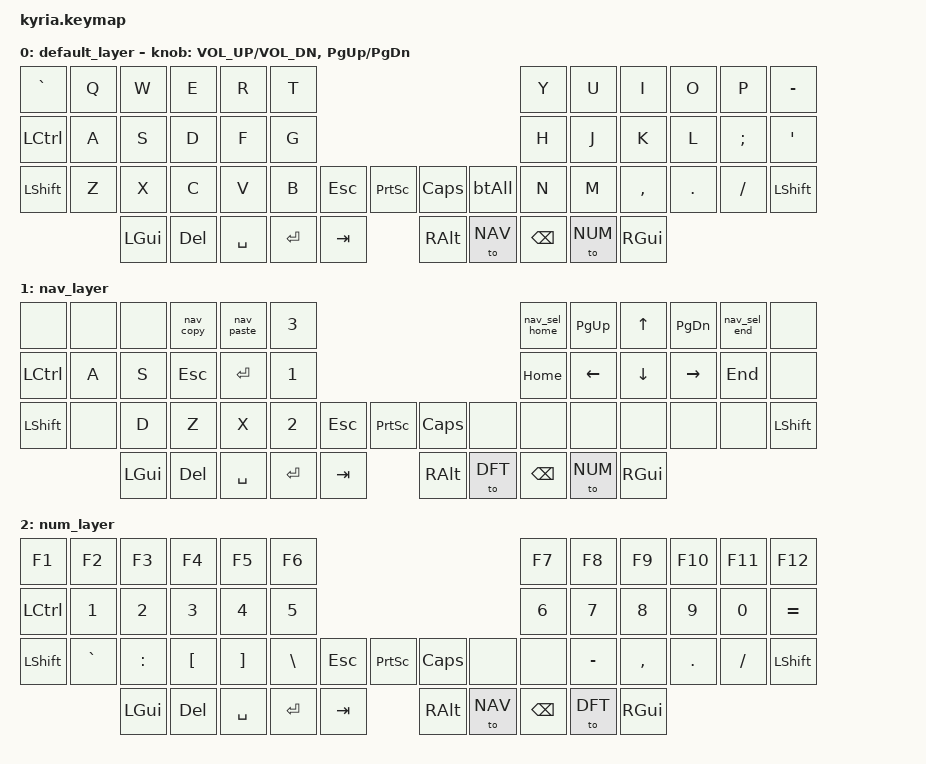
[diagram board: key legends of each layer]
/*
 * Copyright (c) 2020 The ZMK Contributors
 *
 * SPDX-License-Identifier: MIT
 */

#include <behaviors.dtsi>
#include <dt-bindings/zmk/keys.h>
#include <dt-bindings/zmk/bt.h>
#define DFT 0
#define NAV 1
#define NUM 2

/ {
	macros {
        nav_copy: nav_copy {
            label = "nav_copy";
            compatible = "zmk,behavior-macro";
            #binding-cells = <0>;
            bindings
                = <&macro_press &kp LCTRL>
                , <&macro_tap &kp C>
                , <&macro_release &kp LCTRL>
                ;
        };
        nav_paste: nav_paste {
            label = "nav_paste";
            compatible = "zmk,behavior-macro";
            #binding-cells = <0>;
            bindings
                = <&macro_press &kp LCTRL>
                , <&macro_tap &kp V>
                , <&macro_release &kp LCTRL>
                ;
        };
        nav_sel_home: nav_sel_home {
            label = "nav_sel_home";
            compatible = "zmk,behavior-macro";
            #binding-cells = <0>;
            bindings
                = <&macro_press &kp LSHFT>
                , <&macro_tap &kp HOME>
                , <&macro_release &kp LSHFT>
                ;
        };
        nav_sel_end: nav_sel_end {
            label = "nav_sel_end";
            compatible = "zmk,behavior-macro";
            #binding-cells = <0>;
            bindings
                = <&macro_press &kp LSHFT>
                , <&macro_tap &kp END>
                , <&macro_release &kp LSHFT>
                ;
        };
    };

    behaviors {
        btAll: bluetooth_all {
            compatible = "zmk,behavior-mod-morph";
            label = "BLUETOOTH_ALL";
            #binding-cells = <0>;
            bindings = <&bt BT_NXT>, <&bt BT_CLR>;
            mods = <(LCTRL|RALT)>;
        };
    };

	keymap {
		compatible = "zmk,keymap";

		default_layer {
			bindings = <
	&kp GRAVE &kp Q &kp W &kp E &kp R &kp T                                               &kp Y &kp U  &kp I     &kp O   &kp P    &kp MINUS
	&kp LCTRL &kp A &kp S &kp D &kp F &kp G                                               &kp H &kp J  &kp K     &kp L   &kp SEMI &kp SQT
	&kp LSHFT &kp Z &kp X &kp C &kp V &kp B     &kp ESC &kp PSCRN    &kp CAPS  &btAll   &kp N &kp M  &kp COMMA &kp DOT &kp FSLH &kp LSHFT
	                 &kp LGUI &kp DEL &kp SPACE &kp RET &kp TAB      &kp RALT  &to NAV  &kp BSPC &to NUM &kp RGUI
			>;

			sensor-bindings = <&inc_dec_kp C_VOL_UP C_VOL_DN &inc_dec_kp PG_UP PG_DN>;
		};

		nav_layer {
			bindings = <
	&none     &none &none &nav_copy &nav_paste &kp N3                                         &nav_sel_home &kp PG_UP  &kp UP   &kp PG_DN &nav_sel_end &none
	&kp LCTRL &kp A &kp S &kp ESC   &kp RET    &kp N1                                         &kp HOME      &kp LEFT   &kp DOWN &kp RIGHT &kp END      &none
	&kp LSHFT &none &kp D &kp Z     &kp X      &kp N2 &kp ESC &kp PSCRN    &kp CAPS  &none    &none         &none      &none    &none     &none        &kp LSHFT
	                 &kp LGUI &kp DEL &kp SPACE &kp RET &kp TAB            &kp RALT  &to DFT &kp BSPC &to NUM &kp RGUI
			>;
		};

		num_layer {
			bindings = <
	&kp F1    &kp F2    &kp F3    &kp F4   &kp F5   &kp F6                                                &kp F7 &kp F8     &kp F9    &kp F10 &kp F11  &kp F12
	&kp LCTRL &kp N1    &kp N2    &kp N3   &kp N4   &kp N5                                                &kp N6 &kp N7     &kp N8    &kp N9  &kp N0   &kp EQUAL
	&kp LSHFT &kp GRAVE &kp COLON &kp LBKT &kp RBKT &kp BACKSLASH &kp ESC &kp PSCRN    &kp CAPS  &none    &none  &kp MINUS  &kp COMMA &kp DOT &kp FSLH &kp LSHFT
	                                   &kp LGUI &kp DEL &kp SPACE &kp RET &kp TAB      &kp RALT  &to NAV &kp BSPC &to DFT &kp RGUI
			>;
		};
	};
};
